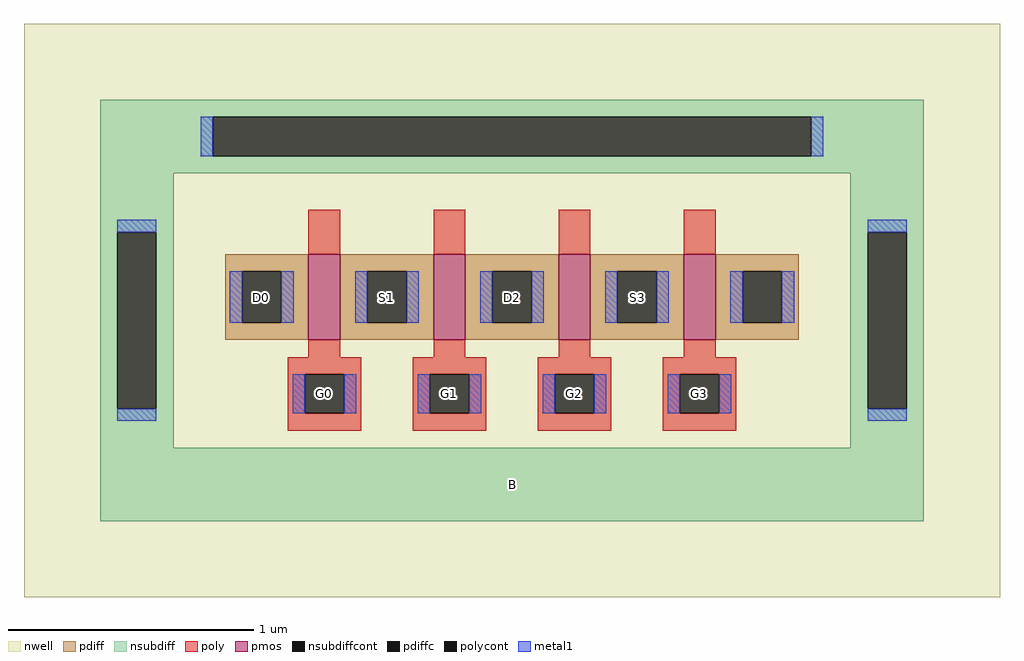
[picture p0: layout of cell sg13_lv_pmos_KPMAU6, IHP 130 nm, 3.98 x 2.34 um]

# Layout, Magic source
magic
tech ihp-sg13cmos5l
magscale 1 2
<< nwell >>
rect -398 -226 398 242
<< pmos >>
rect -166 -16 -140 54
rect -64 -16 -38 54
rect 38 -16 64 54
rect 140 -16 166 54
<< pdiff >>
rect -234 40 -166 54
rect -234 -2 -220 40
rect -188 -2 -166 40
rect -234 -16 -166 -2
rect -140 40 -64 54
rect -140 -2 -118 40
rect -86 -2 -64 40
rect -140 -16 -64 -2
rect -38 40 38 54
rect -38 -2 -16 40
rect 16 -2 38 40
rect -38 -16 38 -2
rect 64 40 140 54
rect 64 -2 86 40
rect 118 -2 140 40
rect 64 -16 140 -2
rect 166 40 234 54
rect 166 -2 188 40
rect 220 -2 234 40
rect 166 -16 234 -2
<< pdiffc >>
rect -220 -2 -188 40
rect -118 -2 -86 40
rect -16 -2 16 40
rect 86 -2 118 40
rect 188 -2 220 40
<< nsubdiff >>
rect -336 166 336 180
rect -336 134 -244 166
rect 244 134 336 166
rect -336 120 336 134
rect -336 72 -276 120
rect -336 -72 -322 72
rect -290 -72 -276 72
rect 276 72 336 120
rect -336 -104 -276 -72
rect 276 -72 290 72
rect 322 -72 336 72
rect 276 -104 336 -72
rect -336 -164 336 -104
<< nsubdiffcont >>
rect -244 134 244 166
rect -322 -72 -290 72
rect 290 -72 322 72
<< poly >>
rect -166 54 -140 90
rect -64 54 -38 90
rect 38 54 64 90
rect 140 54 166 90
rect -166 -30 -140 -16
rect -64 -30 -38 -16
rect 38 -30 64 -16
rect 140 -30 166 -16
rect -183 -44 -123 -30
rect -183 -76 -169 -44
rect -137 -76 -123 -44
rect -183 -90 -123 -76
rect -81 -44 -21 -30
rect -81 -76 -67 -44
rect -35 -76 -21 -44
rect -81 -90 -21 -76
rect 21 -44 81 -30
rect 21 -76 35 -44
rect 67 -76 81 -44
rect 21 -90 81 -76
rect 123 -44 183 -30
rect 123 -76 137 -44
rect 169 -76 183 -44
rect 123 -90 183 -76
<< polycont >>
rect -169 -76 -137 -44
rect -67 -76 -35 -44
rect 35 -76 67 -44
rect 137 -76 169 -44
<< metal1 >>
rect -254 134 -244 166
rect 244 134 254 166
rect -322 72 -290 82
rect 290 72 322 82
rect -230 -2 -220 40
rect -188 -2 -178 40
rect -128 -2 -118 40
rect -86 -2 -76 40
rect -26 -2 -16 40
rect 16 -2 26 40
rect 76 -2 86 40
rect 118 -2 128 40
rect 178 -2 188 40
rect 220 -2 230 40
rect -322 -82 -290 -72
rect -179 -76 -169 -44
rect -137 -76 -127 -44
rect -77 -76 -67 -44
rect -35 -76 -25 -44
rect 25 -76 35 -44
rect 67 -76 77 -44
rect 127 -76 137 -44
rect 169 -76 179 -44
rect 290 -82 322 -72
<< labels >>
rlabel nsubdiff 0 -134 0 -134 0 B
port 1 nsew
rlabel pdiffc -204 19 -204 19 0 D0
port 2 nsew
rlabel polycont -153 -60 -153 -60 0 G0
port 3 nsew
rlabel pdiffc -102 19 -102 19 0 S1
port 4 nsew
rlabel polycont -51 -60 -51 -60 0 G1
port 5 nsew
rlabel pdiffc 0 19 0 19 0 D2
port 6 nsew
rlabel polycont 51 -60 51 -60 0 G2
port 7 nsew
rlabel pdiffc 102 19 102 19 0 S3
port 8 nsew
rlabel polycont 153 -60 153 -60 0 G3
port 9 nsew
<< properties >>
string FIXED_BBOX -306 -134 306 134
string gencell sg13_lv_pmos
string library sg13cmos5l
string parameters w 0.35 l 0.13 m 1 ng 4 diffcov 100 polycov 100 guard 1 glc 1 grc 1 gtc 1 gbc 0 tbcov 100 rlcov 100 topc 0 botc 1 poverlap 0 doverlap 1 lmin 0.13 wmin 0.15 class mosfet compatible {sg13_lv_pmos sg13_hv_pmos} full_metal 0 conn_gates 0 gate_ring 0 ccols 1 viasrc 0 viadrn 0 viagate 0 viagb 0 viagr 0 viagl 0 viagt 0 doports 1
<< end >>
